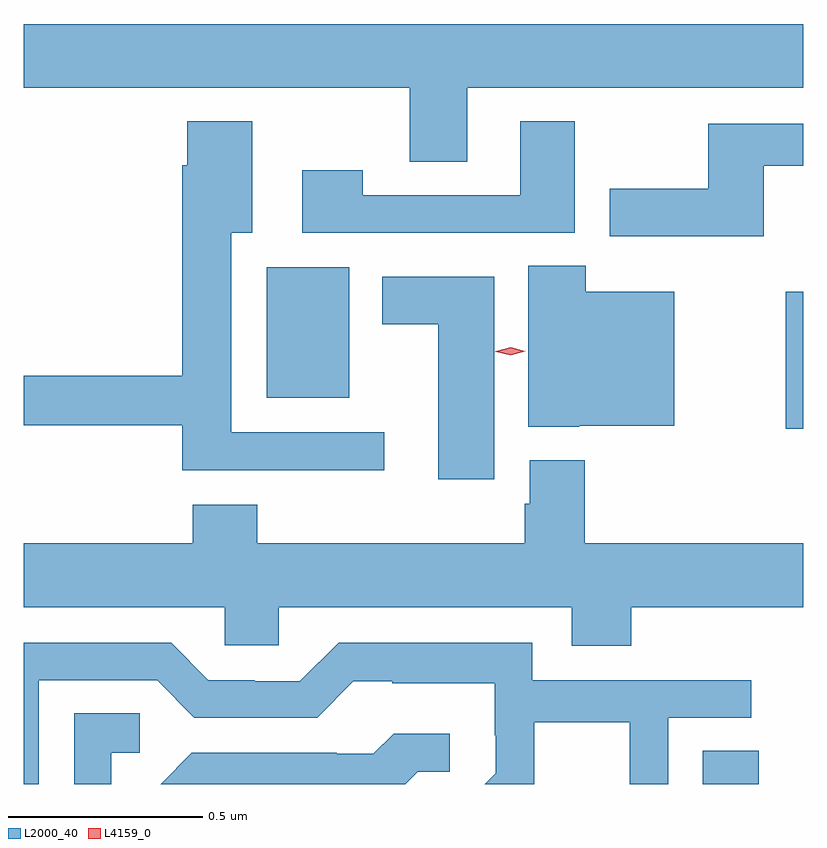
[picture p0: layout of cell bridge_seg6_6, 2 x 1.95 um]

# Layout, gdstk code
import gdstk
lib = gdstk.Library(unit=1e-6, precision=1e-09)
def R(c, l, rs):  # rectangles x0, y0, x1, y1
    for r in rs: c.add(gdstk.rectangle(r[:2], r[2:], *l))
def P(c, l, *ps):  # polygons
    for p in ps: c.add(gdstk.Polygon(p, *l))
L2000_40 = (2000, 40)
L4159_0 = (4159, 0)

bridge_seg6_6 = lib.new_cell('bridge_seg6_6')
R(bridge_seg6_6, L2000_40, [(974.765,964.198,974.909,964.283), (974.978,965.109,975.023,965.461), (973.646,965.189,973.858,965.524)])
P(bridge_seg6_6, L2000_40, [(974.161,965.984),(975.023,965.984),(975.023,966.148),(973.023,966.148),(973.023,965.984),(974.014,965.984),(974.014,965.794),(974.161,965.794)],
  [(973.948,965.1),(973.555,965.1),(973.555,965.612),(973.609,965.612),(973.609,965.899),(973.442,965.899),(973.442,965.786),(973.43,965.786),(973.43,965.246),(973.023,965.246),(973.023,965.118),(973.43,965.118),(973.43,965.003),(973.948,965.003)],
  [(974.437,965.899),(974.297,965.899),(974.297,965.709),(973.893,965.709),(973.893,965.773),(973.737,965.773),(973.737,965.613),(974.437,965.613)],
  [(974.922,965.784),(975.023,965.784),(975.023,965.892),(974.779,965.892),(974.779,965.725),(974.526,965.725),(974.526,965.603),(974.922,965.603)],
  [(974.448,965.117),(974.692,965.117),(974.692,965.461),(974.465,965.461),(974.465,965.528),(974.318,965.528),(974.318,965.114),(974.448,965.114)],
  [(974.23,965.5),(973.943,965.5),(973.943,965.378),(974.087,965.378),(974.087,964.98),(974.23,964.98)],
  [(974.582,964.652),(975.023,964.652),(975.023,964.816),(974.462,964.816),(974.462,965.029),(974.321,965.029),(974.321,964.917),(974.309,964.917),(974.309,964.816),(973.622,964.816),(973.622,964.915),(973.457,964.915),(973.457,964.816),(973.023,964.816),(973.023,964.652),(973.539,964.652),(973.539,964.554),(973.677,964.554),(973.677,964.652),(974.429,964.652),(974.429,964.553),(974.582,964.553)],
  [(973.062,964.464),(973.365,964.464),(973.461,964.368),(973.776,964.368),(973.869,964.461),(973.969,964.461),(973.969,964.457),(974.232,964.457),(974.232,964.323),(974.234,964.323),(974.234,964.226),(974.206,964.198),(974.333,964.198),(974.333,964.356),(974.578,964.356),(974.578,964.198),(974.676,964.198),(974.676,964.368),(974.89,964.368),(974.89,964.464),(974.328,964.464),(974.328,964.561),(973.831,964.561),(973.731,964.461),(973.616,964.461),(973.616,964.464),(973.497,964.464),(973.401,964.56),(973.023,964.56),(973.023,964.198),(973.062,964.198)],
  [(973.248,964.278),(973.321,964.278),(973.321,964.379),(973.152,964.379),(973.152,964.198),(973.248,964.198)],
  [(974.034,964.23),(974.116,964.23),(974.116,964.327),(973.972,964.327),(973.92,964.275),(973.826,964.275),(973.826,964.278),(973.454,964.278),(973.374,964.198),(974.002,964.198)])
P(bridge_seg6_6, L4159_0, [(974.272,965.298),(974.234,965.307),(974.233,965.307),(974.234,965.308),(974.272,965.318),(974.31,965.308),(974.31,965.308),(974.31,965.308)])

lib.write_gds('bridge_seg6_6.gds')
